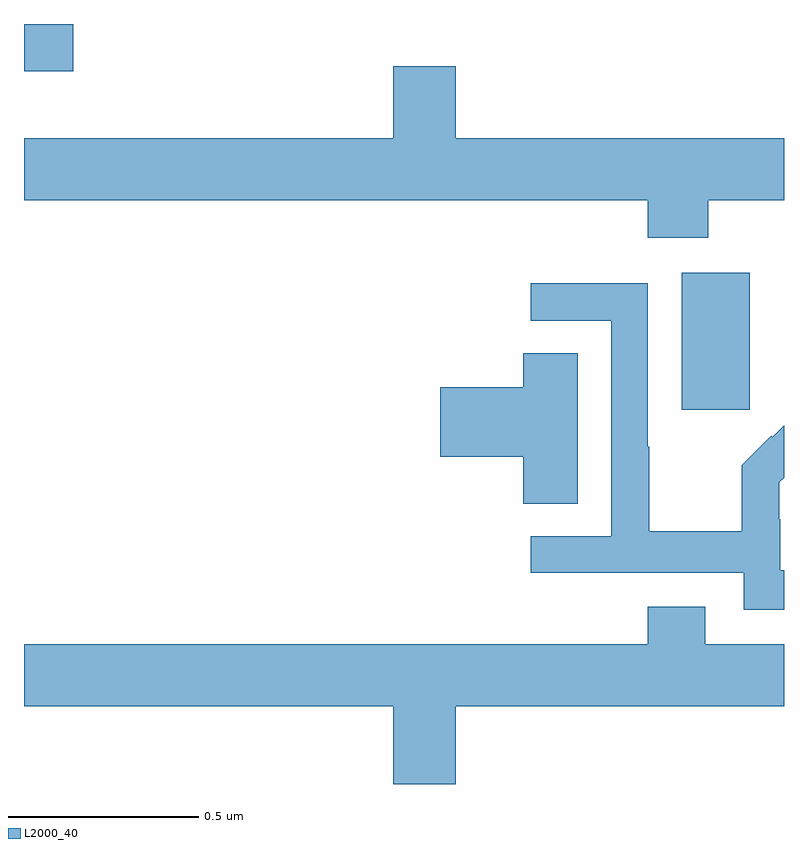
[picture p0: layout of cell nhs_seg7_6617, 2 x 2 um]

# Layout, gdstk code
import gdstk
lib = gdstk.Library(unit=1e-6, precision=1e-09)
def R(c, l, rs):  # rectangles x0, y0, x1, y1
    for r in rs: c.add(gdstk.rectangle(r[:2], r[2:], *l))
def P(c, l, *ps):  # polygons
    for p in ps: c.add(gdstk.Polygon(p, *l))
L2000_40 = (2000, 40)

nhs_seg7_6617 = lib.new_cell('nhs_seg7_6617')
R(nhs_seg7_6617, L2000_40, [(201.731,1079.985,201.91,1080.346), (200,1080.876,200.129,1081)])
P(nhs_seg7_6617, L2000_40, [(201.801,1080.536),(202,1080.536),(202,1080.7),(201.136,1080.7),(201.136,1080.889),(200.972,1080.889),(200.972,1080.7),(200,1080.7),(200,1080.536),(201.641,1080.536),(201.641,1080.437),(201.801,1080.437)],
  [(202,1079.563),(201.99,1079.563),(201.99,1079.697),(201.988,1079.697),(201.988,1079.794),(202,1079.806),(202,1079.944),(201.969,1079.913),(201.966,1079.916),(201.889,1079.839),(201.889,1079.665),(201.645,1079.665),(201.645,1079.888),(201.642,1079.888),(201.642,1080.318),(201.333,1080.318),(201.333,1080.219),(201.546,1080.219),(201.546,1079.652),(201.333,1079.652),(201.333,1079.556),(201.894,1079.556),(201.894,1079.459),(202,1079.459)],
  [(201.457,1080.134),(201.314,1080.134),(201.314,1080.044),(201.096,1080.044),(201.096,1079.861),(201.314,1079.861),(201.314,1079.737),(201.457,1079.737)],
  [(201.136,1079.204),(202,1079.204),(202,1079.368),(201.793,1079.368),(201.793,1079.467),(201.641,1079.467),(201.641,1079.368),(200,1079.368),(200,1079.204),(200.972,1079.204),(200.972,1079),(201.136,1079)])

lib.write_gds('nhs_seg7_6617.gds')
